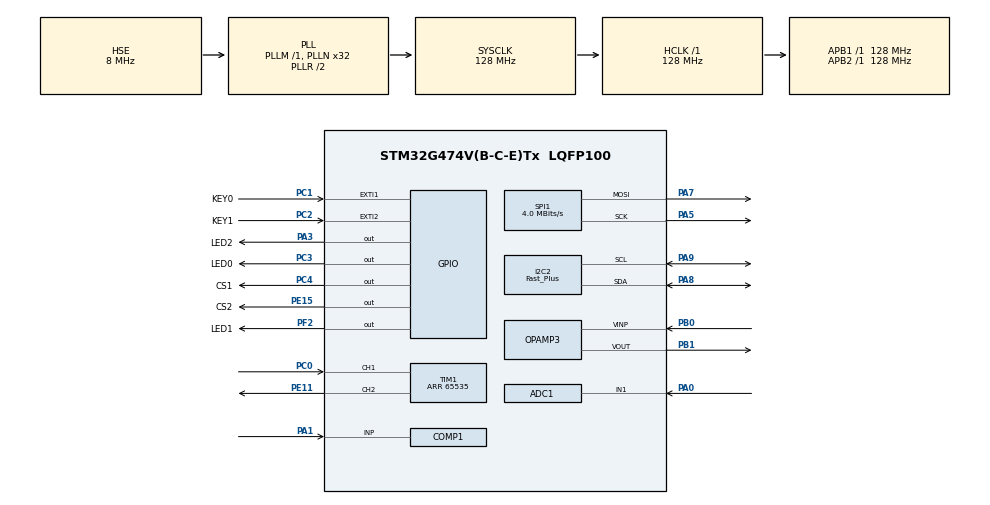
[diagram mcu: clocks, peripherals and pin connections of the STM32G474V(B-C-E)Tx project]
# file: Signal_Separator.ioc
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ADC1.Channel-1\#ChannelRegularConversion=ADC_CHANNEL_1
ADC1.DataAlign=ADC_DATAALIGN_LEFT
ADC1.EnableInjectedConversion=DISABLE
ADC1.EnableRegularConversion=ENABLE
ADC1.ExternalTrigConv=ADC_EXTERNALTRIG_T3_TRGO
ADC1.NbrOfConversion=1
ADC1.NbrOfConversionFlag=1
ADC1.Offset-1\#ChannelRegularConversion=0
ADC1.OffsetNumber-1\#ChannelRegularConversion=ADC_OFFSET_NONE
ADC1.OversamplingMode=DISABLE
ADC1.Rank-1\#ChannelRegularConversion=1
ADC1.Rank1_Channel=ADC_CHANNEL_1
ADC1.SamplingTime-1\#ChannelRegularConversion=ADC_SAMPLETIME_12CYCLES_5
ADC1.master=1
COMP1.Hysteresis=COMP_HYSTERESIS_70MV
COMP1.OutputPol=COMP_OUTPUTPOL_NONINVERTED
COMP1.TriggerMode=COMP_TRIGGERMODE_EVENT_RISING_FALLING
Dma.ADC1.0.Direction=DMA_PERIPH_TO_MEMORY
Dma.ADC1.0.EventEnable=DISABLE
Dma.ADC1.0.Instance=DMA1_Channel1
Dma.ADC1.0.MemDataAlignment=DMA_MDATAALIGN_HALFWORD
Dma.ADC1.0.MemInc=DMA_MINC_ENABLE
Dma.ADC1.0.Mode=DMA_NORMAL
Dma.ADC1.0.PeriphDataAlignment=DMA_PDATAALIGN_HALFWORD
Dma.ADC1.0.PeriphInc=DMA_PINC_DISABLE
Dma.ADC1.0.Polarity=HAL_DMAMUX_REQ_GEN_RISING
Dma.ADC1.0.Priority=DMA_PRIORITY_MEDIUM
Dma.ADC1.0.RequestNumber=1
Dma.ADC1.0.SignalID=NONE
Dma.ADC1.0.SyncEnable=DISABLE
Dma.ADC1.0.SyncPolarity=HAL_DMAMUX_SYNC_NO_EVENT
Dma.ADC1.0.SyncRequestNumber=1
Dma.ADC1.0.SyncSignalID=NONE
Dma.Request0=ADC1
I2C2.I2C_Speed_Mode=I2C_Fast_Plus
I2C2.Timing=0x10920C1D
Mcu.Family=STM32G4
Mcu.Name=STM32G474V(B-C-E)Tx
Mcu.Package=LQFP100
NVIC.DMA1_Channel1_IRQn=true\:0\:0\:false\:false\:true\:false\:true\:true
NVIC.EXTI1_IRQn=true\:15\:0\:true\:false\:true\:true\:true\:true
NVIC.EXTI2_IRQn=true\:15\:0\:true\:false\:true\:true\:true\:true
NVIC.PriorityGroup=NVIC_PRIORITYGROUP_4
PA0.Signal=SharedAnalog_PA0
PA1.Mode=INP
PA1.Signal=COMP1_INP
PA11.Signal=COMP1_OUT
PA13.Mode=Serial_Wire
PA13.Signal=SYS_JTMS-SWDIO
PA14.Mode=Serial_Wire
PA14.Signal=SYS_JTCK-SWCLK
PA3.GPIO_Label=LED2
PA3.PinState=GPIO_PIN_SET
PA3.Signal=GPIO_Output
PA5.Mode=TX_Only_Simplex_Unidirect_Master
PA5.Signal=SPI1_SCK
PA7.Mode=TX_Only_Simplex_Unidirect_Master
PA7.Signal=SPI1_MOSI
PA8.Mode=I2C
PA8.Signal=I2C2_SDA
PA9.Mode=I2C
PA9.Signal=I2C2_SCL
PB0.Mode=Follower
PB0.Signal=OPAMP3_VINP
PB1.Mode=Follower
PB1.Signal=OPAMP3_VOUT
PB15.Signal=COMP3_OUT
PC0.Signal=S_TIM1_CH1
PC1.GPIO_Label=KEY0
PC1.GPIO_ModeDefaultEXTI=GPIO_MODE_IT_FALLING
PC1.Signal=GPXTI1
PC2.GPIO_Label=KEY1
PC2.GPIO_ModeDefaultEXTI=GPIO_MODE_IT_FALLING
PC2.Signal=GPXTI2
PC3.GPIO_Label=LED0
PC3.PinState=GPIO_PIN_SET
PC3.Signal=GPIO_Output
PC4.GPIO_Label=CS1
PC4.Signal=GPIO_Output
PE11.Signal=S_TIM1_CH2
PE12.Signal=SPI4_SCK
PE14.Signal=SPI4_MOSI
PE15.GPIO_Label=CS2
PE15.Signal=GPIO_Output
PF0-OSC_IN.Mode=HSE-External-Oscillator
PF0-OSC_IN.Signal=RCC_OSC_IN
PF1-OSC_OUT.Mode=HSE-External-Oscillator
PF1-OSC_OUT.Signal=RCC_OSC_OUT
PF2.GPIO_Label=LED1
PF2.PinState=GPIO_PIN_SET
PF2.Signal=GPIO_Output
ProjectManager.HeapSize=0x200
ProjectManager.StackSize=0x400
ProjectManager.TargetToolchain=CMake
RCC.ADC12Freq_Value=128000000
RCC.ADC345Freq_Value=128000000
RCC.AHBFreq_Value=128000000
RCC.APB1Freq_Value=128000000
RCC.APB1TimFreq_Value=128000000
RCC.APB2Freq_Value=128000000
RCC.APB2TimFreq_Value=128000000
RCC.CortexFreq_Value=128000000
RCC.EXTERNAL_CLOCK_VALUE=12288000
RCC.HCLKFreq_Value=128000000
RCC.HSE_VALUE=8000000
RCC.HSI48_VALUE=48000000
RCC.HSI_VALUE=16000000
RCC.LSE_VALUE=32768
RCC.PLLN=32
RCC.PLLSourceVirtual=RCC_PLLSOURCE_HSE
RCC.SYSCLKFreq_VALUE=128000000
RCC.SYSCLKSource=RCC_SYSCLKSOURCE_PLLCLK
RCC.USBFreq_Value=128000000
RCC.VCOOutputFreq_Value=256000000
SH.S_TIM1_CH1.0=TIM1_CH1,TriggerSource_TI1ED
SH.S_TIM1_CH2.0=TIM1_CH2,Output Compare2 CH2
SH.SharedAnalog_PA0.0=COMP3_INP
SH.SharedAnalog_PA0.1=ADC1_IN1,IN1-Single-Ended
SPI1.BaudRatePrescaler=SPI_BAUDRATEPRESCALER_32
SPI1.CLKPolarity=SPI_POLARITY_HIGH
SPI1.CalculateBaudRate=4.0 MBits/s
SPI1.DataSize=SPI_DATASIZE_16BIT
SPI1.Direction=SPI_DIRECTION_2LINES
SPI1.Mode=SPI_MODE_MASTER
SPI1.NSSPMode=SPI_NSS_PULSE_DISABLE
SPI1.VirtualType=VM_MASTER
STMicroelectronics.X-CUBE-ALGOBUILD.1.4.0.LibraryCcDSPOoLibraryJjDSPOoLibrary=true
TIM1.AutoReloadPreload=TIM_AUTORELOAD_PRELOAD_DISABLE
TIM1.Channel-Output\ Compare2\ CH2=TIM_CHANNEL_2
TIM1.OCMode_2=TIM_OCMODE_TOGGLE
TIM1.PeriodNoDither=65535
TIM1.Slave_TriggerFilter=7
TIM2.PeriodNoDither=20000-1
TIM2.Prescaler=128-1
TIM3.PeriodNoDither=125-1
TIM3.Prescaler=0
TIM3.TIM_MasterOutputTrigger=TIM_TRGO_UPDATE
VP_COMP1_VS_DAC1OUT1.Mode=INM_DAC1OUT1
VP_DAC1_VS_DACI1.Mode=DAC_OUT1_Int
VP_STMicroelectronics.X-CUBE-ALGOBUILD_VS_DSPOoLibraryJjLibrary_1.4.0_1.4.0.Mode=DSPOoLibraryJjLibrary
VP_SYS_VS_DBSignals.Mode=DisableDeadBatterySignals
VP_SYS_V_VREFBUF.Mode=ExternalMode
VP_TIM1_VS_ControllerModeClock.Mode=Clock Mode
VP_TIM2_VS_ClockSourceINT.Mode=Internal
VP_TIM3_VS_ClockSourceINT.Mode=Internal
board=custom

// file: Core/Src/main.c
/* USER CODE BEGIN Header */
/**
  ******************************************************************************
  * @file           : main.c
  * @brief          : Main program body
  ******************************************************************************
  * @attention
  *
  * Copyright (c) 2026 STMicroelectronics.
  * All rights reserved.
  *
  * This software is licensed under terms that can be found in the LICENSE file
  * in the root directory of this software component.
  * If no LICENSE file comes with this software, it is provided AS-IS.
  *
  ******************************************************************************
  */
/* USER CODE END Header */
#include "main.h"
#include "adc.h"
#include "comp.h"
#include "dac.h"
#include "dma.h"
#include "i2c.h"
#include "opamp.h"
#include "spi.h"
#include "tim.h"
#include "gpio.h"

/* USER CODE BEGIN Includes */
#include "clock_gen.h"
#include "arm_math.h"
#include "SEGGER_RTT.h"
#include "AD9833.h"
#include <stdint.h>
#include <math.h>
#include <stdio.h>
#include "oled.h"
#include "string.h"
/* USER CODE END Includes */

/* USER CODE BEGIN PV */
uint16_t adcValues[1024]={0}; // 存储 ADC 采样值的数组
q15_t fftOutput[2048]={0}; // 存储 FFT 输出的数组
uint32_t fftMagnitude[512/5]={0}; // 存储 FFT 幅值的数组
arm_rfft_instance_q15 S; // 定义 RFFT 实例

AD9833_HandleTypeDef h9833_1 = {
  .FSYN_GPIO_Port = GPIOE,
  .FSYN_Pin = GPIO_PIN_15,
  .hspi = &hspi1,
  .MCLK_Hz = 1280000u
};

AD9833_HandleTypeDef h9833_2 = {
  .FSYN_GPIO_Port = GPIOC,
  .FSYN_Pin = GPIO_PIN_4,
  .hspi = &hspi1,
  .MCLK_Hz = 1280000u
};

typedef struct {
  uint32_t peak_freq;
  uint32_t peak_value;
} peak_Info_t;

typedef struct {
  uint8_t num_peak;
  peak_Info_t peak_info[5];
  uint8_t highest_peak_index;
} waveform_info_t;

typedef struct {
  uint32_t Freq;
  uint32_t Phase;
  AD9833_WaveformMode Waveform;
} DDS_OUTPUT;

DDS_OUTPUT dds_output[2] = {0};
waveform_info_t waveform_info = {0};

/* USER CODE END PV */

void SystemClock_Config(void);
/* USER CODE BEGIN PFP */

void WaveIdentify(void)
{
  memset(&waveform_info, 0, sizeof(waveform_info)); // 清空波形信息结构体
  for (int i = 0; i < 512/5; i++)
  {
    if (fftMagnitude[i] > 130)
    {
      waveform_info.peak_info[waveform_info.num_peak].peak_freq = i*5000; // 记录峰值频率
      waveform_info.peak_info[waveform_info.num_peak].peak_value = fftMagnitude[i]; // 记录峰值幅值
      waveform_info.num_peak++;
    }
  }
  waveform_info.highest_peak_index = 0;
  for (int i = 1; i < waveform_info.num_peak; i++)
  {
    if (waveform_info.peak_info[i].peak_value > waveform_info.peak_info[waveform_info.highest_peak_index].peak_value)
    {
      waveform_info.highest_peak_index = i; // 更新最高峰值索引
    }
  }
  switch (waveform_info.num_peak) {
    case 2:
      float ratio = (float)waveform_info.peak_info[1].peak_value / (float)waveform_info.peak_info[0].peak_value;
      if(ratio>1.1)
      {
        dds_output[0].Waveform = AD9833_MODE_TRIANGLE;
        dds_output[0].Freq = waveform_info.peak_info[0].peak_freq;
        dds_output[1].Waveform = AD9833_MODE_SINE;
        dds_output[1].Freq = waveform_info.peak_info[1].peak_freq;
      }
      else
      {
        dds_output[0].Waveform = AD9833_MODE_SINE;
        dds_output[0].Freq = waveform_info.peak_info[0].peak_freq;
        dds_output[1].Waveform = AD9833_MODE_SINE;
        dds_output[1].Freq = waveform_info.peak_info[1].peak_freq;
      }
      break;
    case 3:
      uint8_t compare_index = waveform_info.peak_info[waveform_info.highest_peak_index].peak_freq/5000*3;
      if(fftMagnitude[compare_index]>1000||fftMagnitude[compare_index]<150)
      {
        uint8_t k = 0;
        for(int i=0;i<waveform_info.num_peak;i++)
        {
          if(waveform_info.peak_info[i].peak_value > 1000)
          {
            if(i==waveform_info.highest_peak_index)
            {
              dds_output[k].Waveform = AD9833_MODE_SINE;
              dds_output[k].Freq = waveform_info.peak_info[i].peak_freq;
              k++;
            }
            else
            {
              dds_output[k].Waveform = AD9833_MODE_TRIANGLE;
              dds_output[k].Freq = waveform_info.peak_info[i].peak_freq;
              k++;
            }
          }
          if(k>=2)
          {
            break;
          }
        }
      }
      else
      {
        dds_output[0].Waveform = AD9833_MODE_TRIANGLE;
        dds_output[1].Waveform = AD9833_MODE_TRIANGLE;
        int k = 0;
        for(int i=0;i<waveform_info.num_peak;i++)
        {
          if(waveform_info.peak_info[i].peak_value > 1000)
          {
            dds_output[k].Freq = waveform_info.peak_info[i].peak_freq;
            k++;
            if(k>=2)
            {
              break;
            }
          }
        }
      }
      break;
    case 4:
      dds_output[0].Waveform = AD9833_MODE_TRIANGLE;
      dds_output[0].Freq = waveform_info.peak_info[0].peak_freq;
      dds_output[1].Waveform = AD9833_MODE_TRIANGLE;
      if(waveform_info.peak_info[1].peak_value > 1000)
      {
        dds_output[1].Freq = waveform_info.peak_info[1].peak_freq;
      }
      else
      {
        dds_output[1].Freq = waveform_info.peak_info[2].peak_freq;
      }
      break;
    default:
      dds_output[0].Waveform = AD9833_MODE_SINE;
      dds_output[0].Freq = waveform_info.peak_info[0].peak_freq;
      dds_output[1].Waveform = AD9833_MODE_SINE;
      dds_output[1].Freq = waveform_info.peak_info[1].peak_freq;
      break;
  }
}

void HAL_ADC_ConvCpltCallback(ADC_HandleTypeDef *hadc)
{
  if (hadc->Instance == ADC1)
  {
    for (int i = 0; i < 1024; i++) {
      adcValues[i] = adcValues[i] >> 1; // 将 12 位 ADC 数据转换为 15 位 Q15 格式
    }
    arm_rfft_init_q15(&S, 1024, 0, 1); // 初始化 RFFT 实例，长度为 1024，正向 FFT，使用 bit-reversal 顺序
    arm_rfft_q15(&S, (q15_t*)adcValues, fftOutput);
    //arm_cmplx_mag_q15(fftOutput, fftMagnitude, 512 ); // 计算 FFT 输出的幅值512
    for (int i = 0; i < 512/5; i++) {// 只计算i为5的倍数的幅值
      uint32_t real = fftOutput[2*i*5]; // 实部
      uint32_t imag = fftOutput[2*i*5 + 1]; // 虚部
      fftMagnitude[i] = sqrt(real * real + imag * imag); // 计算幅值
    }
    fftMagnitude[0] = 0; // 直流分量幅值设为0，忽略直流偏置对频谱的影响
    WaveIdentify(); // 进行波形识别，更新 dds_output 数组
    HAL_GPIO_WritePin(h9833_1.FSYN_GPIO_Port, h9833_1.FSYN_Pin, GPIO_PIN_RESET);
    HAL_GPIO_WritePin(h9833_2.FSYN_GPIO_Port, h9833_2.FSYN_Pin, GPIO_PIN_RESET);
    AD9833_Reset(&h9833_1); // 重置第一个 DDS
    HAL_GPIO_WritePin(h9833_1.FSYN_GPIO_Port, h9833_1.FSYN_Pin, GPIO_PIN_SET);
    HAL_GPIO_WritePin(h9833_2.FSYN_GPIO_Port, h9833_2.FSYN_Pin, GPIO_PIN_SET);
    AD9833_SetWaveform(&h9833_1, dds_output[0].Waveform); // 设置第一个 DDS 的波形
    AD9833_SetFrequency(&h9833_1, dds_output[0].Freq); // 设置第一个 DDS 的频率
    AD9833_SetWaveform(&h9833_2, dds_output[1].Waveform); // 设置第二个 DDS 的波形
    AD9833_SetFrequency(&h9833_2, dds_output[1].Freq); // 设置第二个 DDS 的频率
    AD9833_SetPhaseDeg(&h9833_1, dds_output[0].Phase); // 设置第一个 DDS 的相位
    AD9833_SetPhaseDeg(&h9833_2, dds_output[1].Phase); // 设置第二个 DDS 的相位

    HAL_GPIO_WritePin(h9833_1.FSYN_GPIO_Port, h9833_1.FSYN_Pin, GPIO_PIN_RESET);
    HAL_GPIO_WritePin(h9833_2.FSYN_GPIO_Port, h9833_2.FSYN_Pin, GPIO_PIN_RESET);
    AD9833_Reset(&h9833_1); // 重置第一个 DDS
    HAL_GPIO_WritePin(h9833_1.FSYN_GPIO_Port, h9833_1.FSYN_Pin, GPIO_PIN_SET);
    HAL_GPIO_WritePin(h9833_2.FSYN_GPIO_Port, h9833_2.FSYN_Pin, GPIO_PIN_SET);
    AD9833_SetWaveform(&h9833_1, dds_output[0].Waveform); // 设置第一个 DDS 的波形
    AD9833_SetFrequency(&h9833_1, dds_output[0].Freq); // 设置第一个 DDS 的频率
    AD9833_SetWaveform(&h9833_2, dds_output[1].Waveform); // 设置第二个 DDS 的波形
    AD9833_SetFrequency(&h9833_2, dds_output[1].Freq); // 设置第二个 DDS 的频率
    AD9833_SetPhaseDeg(&h9833_1, dds_output[0].Phase); // 设置第一个 DDS 的相位
    AD9833_SetPhaseDeg(&h9833_2, dds_output[1].Phase); // 设置第二个 DDS 的相位
  }
}

void HAL_GPIO_EXTI_Callback(uint16_t GPIO_Pin)
{
  if (GPIO_Pin == KEY0_Pin) // 如果是 KEY0 触发的外部中断
  {
    HAL_Delay(30); // 延时 30 ms，进行按键消抖
    if(HAL_GPIO_ReadPin(KEY0_GPIO_Port, KEY0_Pin) == GPIO_PIN_RESET)
    {
      HAL_ADC_Stop_DMA(&hadc1); // 停止 ADC DMA 采样
      ClockGen_Update(); // 进行一次时钟更新，调整分频比以匹配输入信号频率
      HAL_GPIO_WritePin(LED0_GPIO_Port, LED0_Pin, GPIO_PIN_SET);
      HAL_ADC_Start_DMA(&hadc1, (uint32_t*)adcValues, 1024); // 启动 ADC DMA 采样，结果存储在 adcValues 数组中
    }
  }
  if(GPIO_Pin == KEY1_Pin) // 如果是 KEY1 触发的外部中断
  {
    HAL_Delay(30); // 延时 30 ms，进行按键消抖
    if(HAL_GPIO_ReadPin(KEY1_GPIO_Port, KEY1_Pin) == GPIO_PIN_RESET)
    {
      while(HAL_GPIO_ReadPin(KEY1_GPIO_Port, KEY1_Pin) == GPIO_PIN_RESET); // 等待按键释放
      dds_output[0].Phase = 0; // 将第一个 DDS 的相位重置为 0 度
      dds_output[1].Phase = dds_output[1].Phase + 5; // 将第二个 DDS 的相位增加 5 度
      if(dds_output[1].Phase >= 185)
      {
        dds_output[1].Phase = 0; // 如果相位超过 185 度，则重置为 0 度
      }
      //AD9833_SetPhase(&h9833_1, dds_output[0].Phase); // 设置第一个 DDS 的相位
      //uint32_t phaseBias = (double)0.00000375*(double)dds_output[1].F
      AD9833_SetPhaseDeg(&h9833_2, dds_output[1].Phase); // 设置第二个 DDS 的相位
    }

  }

}

/* USER CODE END PFP */

int main(void)
{

  /* MCU Configuration--------------------------------------------------------*/

  /* Reset of all peripherals, Initializes the Flash interface and the Systick. */
  HAL_Init();

  /* Configure the system clock */
  SystemClock_Config();

  /* Initialize all configured peripherals */
  MX_GPIO_Init();
  MX_DMA_Init();
  MX_ADC1_Init();
  MX_COMP1_Init();
  MX_SPI1_Init();
  MX_DAC1_Init();
  MX_TIM1_Init();
  MX_TIM2_Init();
  MX_I2C2_Init();
  MX_OPAMP3_Init();
  MX_TIM3_Init();
  /* USER CODE BEGIN 2 */
  ClockGen_Init();
  HAL_GPIO_WritePin(LED0_GPIO_Port, LED0_Pin, GPIO_PIN_RESET); // 指示灯亮，表示时钟发生器已启动
  HAL_Delay(500); // 等待时钟发生器稳定
  AD9833_Init(&h9833_1); // 初始化第一个 AD9833 DDS
  AD9833_Init(&h9833_2); // 初始化第二个 AD9833 DDS
  OLED_Init(); // 初始化 OLED 显示屏
  /* USER CODE END 2 */

  /* Infinite loop */
  /* USER CODE BEGIN WHILE */
  while (1)
  {
    OLED_NewFrame(); // 开始新的 OLED 帧
    char buffer[64];
    sprintf(buffer, "FA:%ld PhA:%ld", dds_output[0].Freq/1000, dds_output[0].Phase);
    OLED_PrintString(0, 0, buffer, &font16x16, OLED_COLOR_NORMAL);
    switch (dds_output[0].Waveform) {
      case AD9833_MODE_SINE:
        OLED_PrintString(0, 16, "WA:SINE", &font16x16, OLED_COLOR_NORMAL);
        break;
      case AD9833_MODE_TRIANGLE:
        OLED_PrintString(0, 16, "WA:TRIANGLE", &font16x16, OLED_COLOR_NORMAL);
        break;
      case AD9833_MODE_SQUARE:
        OLED_PrintString(0, 16, "WA:SQUARE", &font16x16, OLED_COLOR_NORMAL);
        break;
      default:
        OLED_PrintString(0, 16, "WA:UNKNOWN", &font16x16, OLED_COLOR_NORMAL);
        break;
    }

    sprintf(buffer, "FB:%ld PhB:%ld", dds_output[1].Freq/1000, dds_output[1].Phase);
    OLED_PrintString(0, 32, buffer, &font16x16, OLED_COLOR_NORMAL);
    switch (dds_output[1].Waveform) {
      case AD9833_MODE_SINE:
        OLED_PrintString(0, 48, "WB:SINE", &font16x16, OLED_COLOR_NORMAL);
        break;
      case AD9833_MODE_TRIANGLE:
        OLED_PrintString(0, 48, "WB:TRIANGLE", &font16x16, OLED_COLOR_NORMAL);
        break;
      case AD9833_MODE_SQUARE:
        OLED_PrintString(0, 48, "WB:SQUARE", &font16x16, OLED_COLOR_NORMAL);
        break;
      default:
        OLED_PrintString(0, 48, "WB:UNKNOWN", &font16x16, OLED_COLOR_NORMAL);
        break;
    }

    OLED_ShowFrame(); // 显示 OLED 帧
    HAL_Delay(100); // 每 100 ms 更新一次显示
    /* USER CODE END WHILE */

  }
}

void SystemClock_Config(void)
{
  RCC_OscInitTypeDef RCC_OscInitStruct = {0};
  RCC_ClkInitTypeDef RCC_ClkInitStruct = {0};

  /** Configure the main internal regulator output voltage
  */
  HAL_PWREx_ControlVoltageScaling(PWR_REGULATOR_VOLTAGE_SCALE1);

  /** Initializes the RCC Oscillators according to the specified parameters
  * in the RCC_OscInitTypeDef structure.
  */
  RCC_OscInitStruct.OscillatorType = RCC_OSCILLATORTYPE_HSE;
  RCC_OscInitStruct.HSEState = RCC_HSE_ON;
  RCC_OscInitStruct.PLL.PLLState = RCC_PLL_ON;
  RCC_OscInitStruct.PLL.PLLSource = RCC_PLLSOURCE_HSE;
  RCC_OscInitStruct.PLL.PLLM = RCC_PLLM_DIV1;
  RCC_OscInitStruct.PLL.PLLN = 32;
  RCC_OscInitStruct.PLL.PLLP = RCC_PLLP_DIV2;
  RCC_OscInitStruct.PLL.PLLQ = RCC_PLLQ_DIV2;
  RCC_OscInitStruct.PLL.PLLR = RCC_PLLR_DIV2;
  if (HAL_RCC_OscConfig(&RCC_OscInitStruct) != HAL_OK)
  {
    Error_Handler();
  }

  /** Initializes the CPU, AHB and APB buses clocks
  */
  RCC_ClkInitStruct.ClockType = RCC_CLOCKTYPE_HCLK|RCC_CLOCKTYPE_SYSCLK
                              |RCC_CLOCKTYPE_PCLK1|RCC_CLOCKTYPE_PCLK2;
  RCC_ClkInitStruct.SYSCLKSource = RCC_SYSCLKSOURCE_PLLCLK;
  RCC_ClkInitStruct.AHBCLKDivider = RCC_SYSCLK_DIV1;
  RCC_ClkInitStruct.APB1CLKDivider = RCC_HCLK_DIV1;
  RCC_ClkInitStruct.APB2CLKDivider = RCC_HCLK_DIV1;

  if (HAL_RCC_ClockConfig(&RCC_ClkInitStruct, FLASH_LATENCY_4) != HAL_OK)
  {
    Error_Handler();
  }
}

void Error_Handler(void)
{
  __disable_irq();
  while (1)
  {
  }
}
